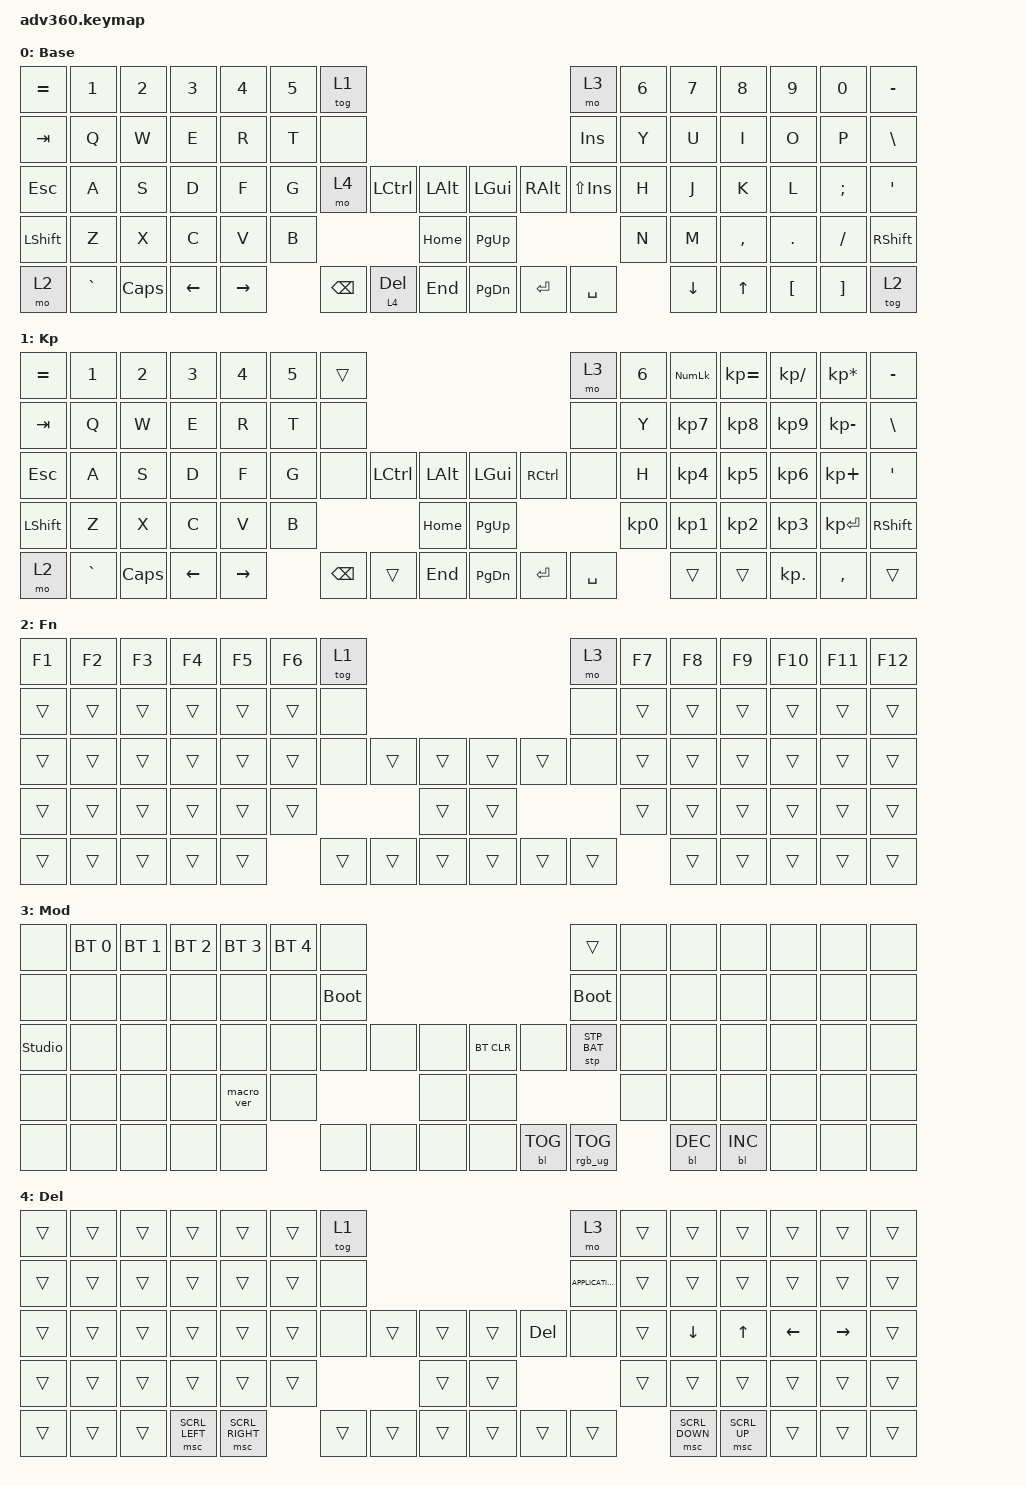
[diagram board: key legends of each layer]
#include <dt-bindings/zmk/stp.h>
#include <behaviors.dtsi>
#include <dt-bindings/zmk/backlight.h>
#include <dt-bindings/zmk/bt.h>
#include <dt-bindings/zmk/keys.h>
#include <dt-bindings/zmk/pointing.h>
#include <dt-bindings/zmk/rgb.h>

/ {
    behaviors {
        #include "macros.dtsi"
      #include "version.dtsi"

        hm: homerow_mods {
            compatible = "zmk,behavior-hold-tap";
            label = "HOMEROW_MODS";
            #binding-cells = <2>;
            tapping-term-ms = <200>;
            quick_tap_ms = <175>;
            flavor = "tap-preferred";
            bindings = <&kp>, <&kp>;
        };

        Delete_RALT: Delete_RALT {
            compatible = "zmk,behavior-mod-morph";
            label = "DELETE_RALT";
            bindings = <&kp DELETE>, <&kp DELETE>;

            #binding-cells = <0>;
            mods = <(MOD_RALT)>;
            keep-mods = <(MOD_RALT)>;
        };

        Hold_Delete: Hold_Delete {
            compatible = "zmk,behavior-hold-tap";
            label = "HOLD_DELETE";
            bindings = <&mo>, <&Delete_RALT>;

            #binding-cells = <2>;
            tapping-term-ms = <200>;
            quick-tap-ms = <0>;
            flavor = "balanced";
            hold-trigger-on-release;
        };
    };

    keymap {
        compatible = "zmk,keymap";

        default_layer {
            display-name = "Base";
            bindings = <
&kp EQUAL   &kp N1     &kp N2    &kp N3    &kp N4     &kp N5  &tog 1                                                               &mo 3           &kp N6  &kp N7    &kp N8     &kp N9    &kp N0    &kp MINUS
&kp TAB     &kp Q      &kp W     &kp E     &kp R      &kp T   &none                                                                &kp INSERT      &kp Y   &kp U     &kp I      &kp O     &kp P     &kp BSLH
&kp ESCAPE  &kp A      &kp S     &kp D     &kp F      &kp G   &mo 4     &kp LCTRL              &kp LALT      &kp LGUI   &kp RALT   &kp LS(INSERT)  &kp H   &kp J     &kp K      &kp L     &kp SEMI  &kp SQT
&kp LSHFT   &kp Z      &kp X     &kp C     &kp V      &kp B                                    &kp HOME      &kp PG_UP                             &kp N   &kp M     &kp COMMA  &kp DOT   &kp FSLH  &kp RSHFT
&mo 2       &kp GRAVE  &kp CAPS  &kp LEFT  &kp RIGHT          &kp BSPC  &Hold_Delete 4 DELETE  &kp END       &kp PG_DN  &kp ENTER  &kp SPACE               &kp DOWN  &kp UP     &kp LBKT  &kp RBKT  &tog 2
            >;
        };

        keypad {
            display-name = "Kp";
            bindings = <
&kp EQUAL  &kp N1     &kp N2    &kp N3    &kp N4     &kp N5  &trans                                                   &mo 3      &kp N6           &kp KP_NUM  &kp KP_EQUAL  &kp KP_DIVIDE  &kp KP_MULTIPLY  &kp MINUS
&kp TAB    &kp Q      &kp W     &kp E     &kp R      &kp T   &none                                                    &none      &kp Y            &kp KP_N7   &kp KP_N8     &kp KP_N9      &kp KP_MINUS     &kp BSLH
&kp ESC    &kp A      &kp S     &kp D     &kp F      &kp G   &none     &kp LCTRL  &kp LALT      &kp LGUI   &kp RCTRL  &none      &kp H            &kp KP_N4   &kp KP_N5     &kp KP_N6      &kp KP_PLUS      &kp SQT
&kp LSHFT  &kp Z      &kp X     &kp C     &kp V      &kp B                        &kp HOME      &kp PG_UP                        &kp KP_NUMBER_0  &kp KP_N1   &kp KP_N2     &kp KP_N3      &kp KP_ENTER     &kp RSHFT
&mo 2      &kp GRAVE  &kp CAPS  &kp LEFT  &kp RIGHT          &kp BSPC  &trans     &kp END       &kp PG_DN  &kp ENTER  &kp SPACE                   &trans      &trans        &kp KP_DOT     &kp COMMA        &trans
            >;
        };

        fn {
            display-name = "Fn";
            bindings = <
&kp F1  &kp F2  &kp F3  &kp F4  &kp F5  &kp F6  &tog 1                                      &mo 3   &kp F7  &kp F8  &kp F9  &kp F10  &kp F11  &kp F12
&trans  &trans  &trans  &trans  &trans  &trans  &none                                       &none   &trans  &trans  &trans  &trans   &trans   &trans
&trans  &trans  &trans  &trans  &trans  &trans  &none   &trans  &trans      &trans  &trans  &none   &trans  &trans  &trans  &trans   &trans   &trans
&trans  &trans  &trans  &trans  &trans  &trans                  &trans      &trans                  &trans  &trans  &trans  &trans   &trans   &trans
&trans  &trans  &trans  &trans  &trans          &trans  &trans  &trans      &trans  &trans  &trans          &trans  &trans  &trans   &trans   &trans
            >;
        };

        mod {
            display-name = "Mod";
            bindings = <
&none           &bt BT_SEL 0  &bt BT_SEL 1  &bt BT_SEL 2  &bt BT_SEL 3  &bt BT_SEL 4  &none                                                  &trans           &none  &none       &none       &none  &none  &none
&none           &none         &none         &none         &none         &none         &bootloader                                            &bootloader      &none  &none       &none       &none  &none  &none
&studio_unlock  &none         &none         &none         &none         &none         &none        &none  &none      &bt BT_CLR  &none       &stp STP_BAT     &none  &none       &none       &none  &none  &none
&none           &none         &none         &none         &macro_ver    &none                             &none      &none                                    &none  &none       &none       &none  &none  &none
&none           &none         &none         &none         &none                       &none        &none  &none      &none       &bl BL_TOG  &rgb_ug RGB_TOG         &bl BL_DEC  &bl BL_INC  &none  &none  &none
            >;
        };

        Delete_mod {
            display-name = "Del";
            bindings = <
&trans  &trans  &trans  &trans          &trans           &trans  &tog 1                                          &mo 3              &trans  &trans          &trans        &trans    &trans     &trans
&trans  &trans  &trans  &trans          &trans           &trans  &none                                           &kp K_APPLICATION  &trans  &trans          &trans        &trans    &trans     &trans
&trans  &trans  &trans  &trans          &trans           &trans  &none   &trans  &trans      &trans  &kp DELETE  &none              &trans  &kp DOWN        &kp UP        &kp LEFT  &kp RIGHT  &trans
&trans  &trans  &trans  &trans          &trans           &trans                  &trans      &trans                                 &trans  &trans          &trans        &trans    &trans     &trans
&trans  &trans  &trans  &msc SCRL_LEFT  &msc SCRL_RIGHT          &trans  &trans  &trans      &trans  &trans      &trans                     &msc SCRL_DOWN  &msc SCRL_UP  &trans    &trans     &trans
            >;
        };
    };
};
